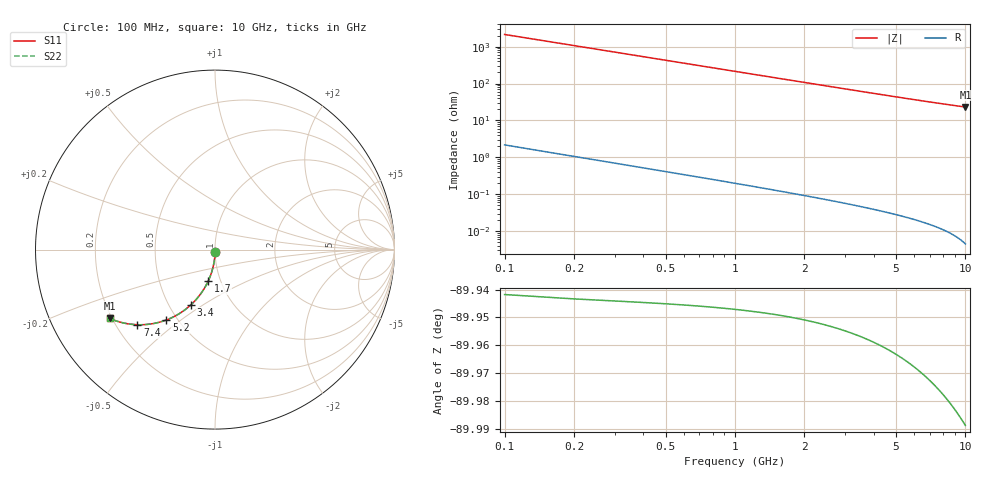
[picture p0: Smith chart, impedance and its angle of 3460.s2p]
# Hz S RI R 50.00
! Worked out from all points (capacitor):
!   100 points, 100 MHz to 10 GHz, reference 50 ohm
!   read as one part in shunt: C = 742 fF near 100 MHz
!   lowest |Z| = 23.1 ohm at 10 GHz (marker M1)
!   S11 on the Smith chart (normalised r, x): 100 MHz: 1.00, -0.02; 1.7 GHz: 0.88, -0.31; 3.4 GHz: 0.64, -0.45; 5.2 GHz: 0.44, -0.44; 7.4 GHz: 0.29, -0.38; 10 GHz: 0.19, -0.29
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1e8  0.000592 -0.0106  0.9991 -0.0127  0.9991 -0.0127  0.000592 -0.0106
2e8  0.000182 -0.0213  0.9987 -0.0253  0.9987 -0.0253  0.000182 -0.0213
3e8  -0.000499 -0.0319  0.998 -0.038  0.998 -0.038  -0.000499 -0.0319
4e8  -0.00145 -0.0424  0.997 -0.0506  0.997 -0.0506  -0.00145 -0.0424
5e8  -0.00266 -0.053  0.9958 -0.0632  0.9958 -0.0632  -0.00266 -0.053
6e8  -0.00414 -0.0635  0.9943 -0.0757  0.9943 -0.0757  -0.00414 -0.0635
8e8  -0.00789 -0.0843  0.9905 -0.1007  0.9905 -0.1007  -0.00789 -0.0843
1.1e9  -0.0154 -0.1149  0.9828 -0.1375  0.9828 -0.1375  -0.0154 -0.1149
1.4e9  -0.0252 -0.1447  0.9729 -0.1734  0.9729 -0.1734  -0.0252 -0.1447
1.7e9  -0.037 -0.1735  0.9608 -0.2083  0.9608 -0.2083  -0.037 -0.1735
1.8e9  -0.0414 -0.1828  0.9564 -0.2196  0.9564 -0.2196  -0.0414 -0.1828
2.1e9  -0.0557 -0.2098  0.9418 -0.2528  0.9418 -0.2528  -0.0557 -0.2098
2.5e9  -0.0775 -0.2435  0.9196 -0.2948  0.9196 -0.2948  -0.0775 -0.2435
2.9e9  -0.1019 -0.2744  0.8947 -0.334  0.8947 -0.334  -0.1019 -0.2744
3.4e9  -0.1354 -0.3088  0.8606 -0.3787  0.8606 -0.3787  -0.1354 -0.3088
4.2e9  -0.1937 -0.3534  0.801 -0.4399  0.801 -0.4399  -0.1937 -0.3534
5.1e9  -0.2627 -0.3888  0.7301 -0.4941  0.7301 -0.4941  -0.2627 -0.3888
5.2e9  -0.2704 -0.3918  0.7221 -0.4992  0.7221 -0.4992  -0.2704 -0.3918
6.7e9  -0.3834 -0.4173  0.6051 -0.5566  0.6051 -0.5566  -0.3834 -0.4173
7.4e9  -0.4326 -0.4185  0.5536 -0.5729  0.5536 -0.5729  -0.4326 -0.4185
8.4e9  -0.4975 -0.4112  0.4851 -0.5874  0.4851 -0.5874  -0.4975 -0.4112
1e10  -0.5865 -0.3835  0.3889 -0.5954  0.3889 -0.5954  -0.5865 -0.3835
